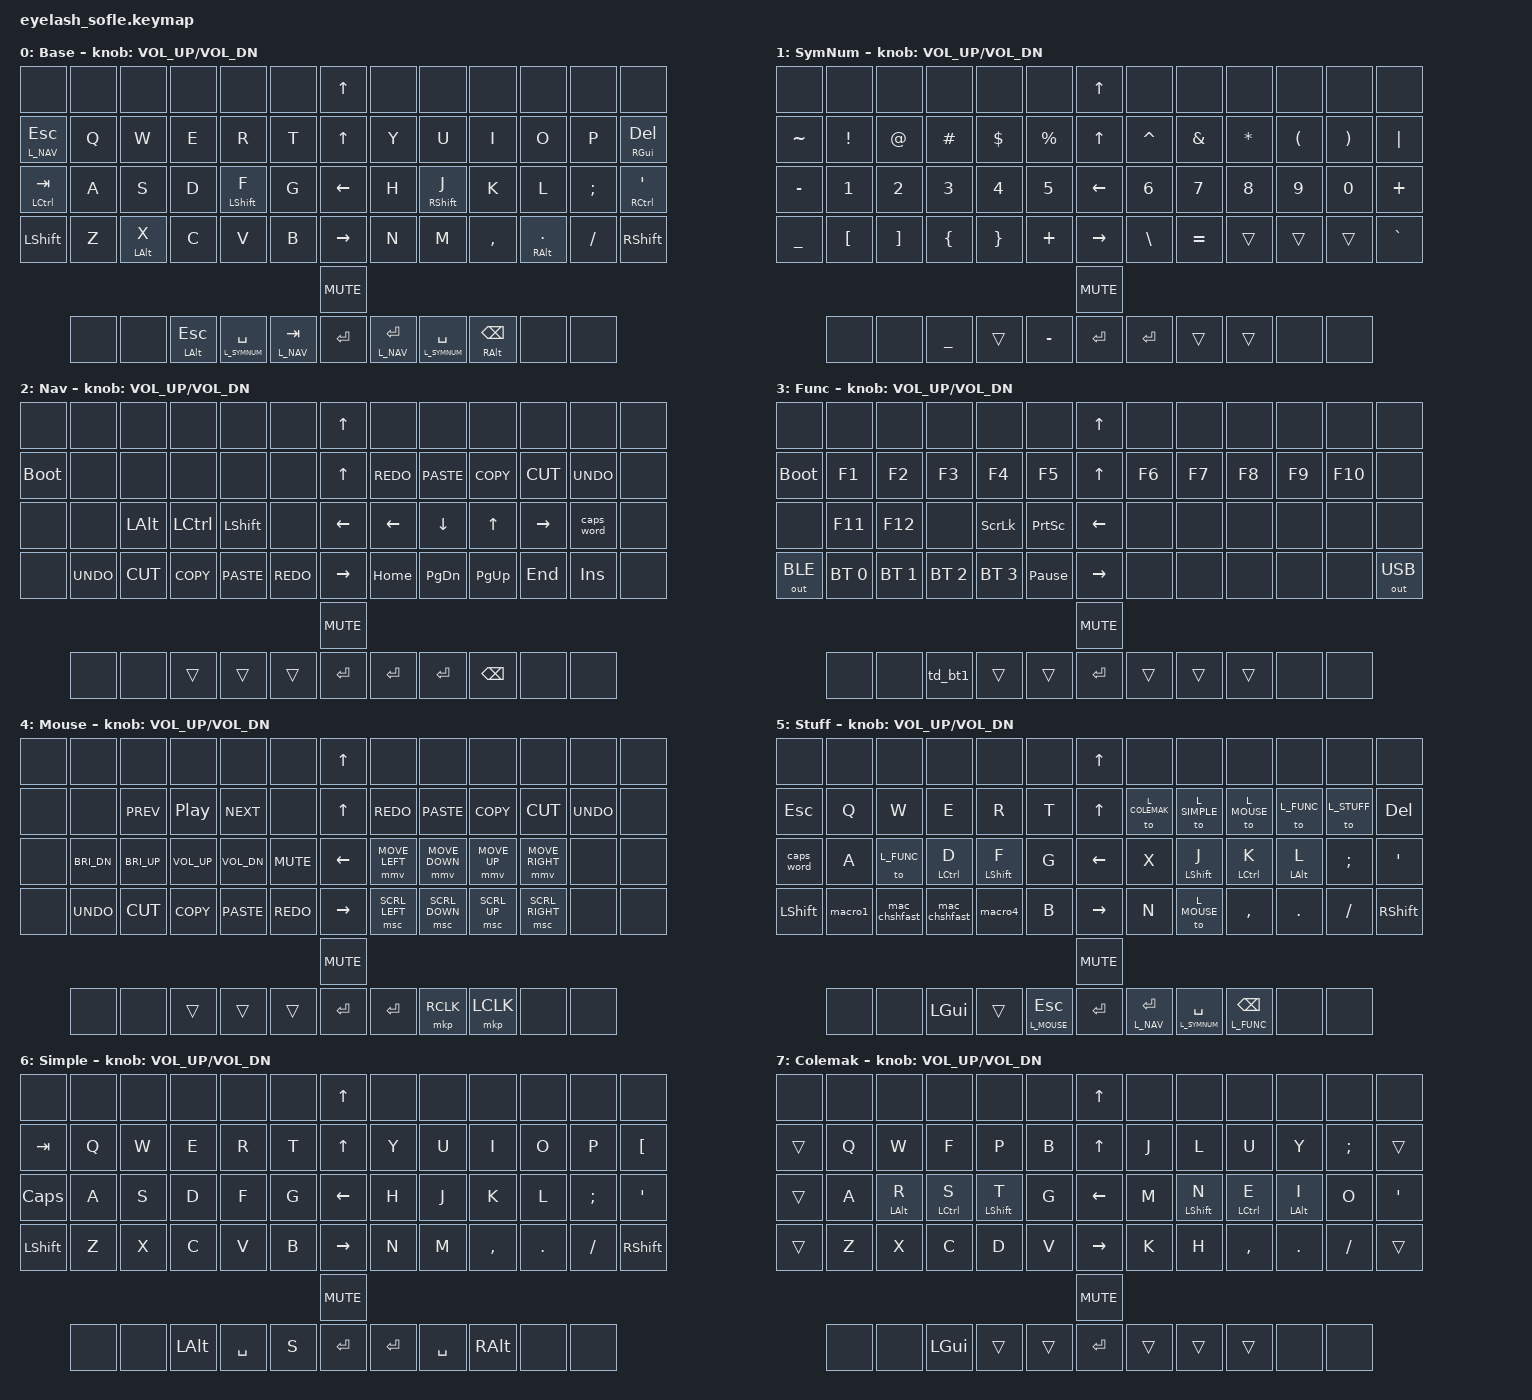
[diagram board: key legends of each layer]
#define ZMK_POINTING_DEFAULT_MOVE_VAL 1200  // 600
#define ZMK_POINTING_DEFAULT_SCRL_VAL 25   // 10

#define L_BASE         0
#define L_SYMNUM       1
#define L_NAV          2
#define L_FUNC         3
#define L_MOUSE        4 
#define L_STUFF        5 
#define L_SIMPLE       6
#define L_COLEMAK      7


// TODO: convert left ctrl and alt to right versions, where appropriate
// TODO maybe move the numbers to bottom row?
// idea: add 'one handed mode' layers. e.g. for arrow keys.

#include <input/processors.dtsi>
#include <zephyr/dt-bindings/input/input-event-codes.h>
#include <behaviors.dtsi>
#include <dt-bindings/zmk/bt.h>
#include <dt-bindings/zmk/keys.h>
#include <dt-bindings/zmk/outputs.h>
#include <dt-bindings/zmk/pointing.h>
#include <dt-bindings/zmk/rgb.h>

&mmv_input_listener { input-processors = <&zip_xy_scaler 2 1>; };
&msc_input_listener { input-processors = <&zip_scroll_scaler 2 1>; };
&msc {
    acceleration-exponent = <1>;      // 0
    time-to-max-speed-ms = <100>;       // 300
    delay-ms = <0>;                   // 0
};
&mmv {
    time-to-max-speed-ms = <500>;
    acceleration-exponent = <1>;
    trigger-period-ms = <16>;
};
&soft_off { hold-time-ms = <2000>; };

/ {
    scroll_encoder: scroll_encoder {
        compatible = "zmk,behavior-sensor-rotate";
        #sensor-binding-cells = <0>;
        bindings = <&msc SCRL_DOWN>, <&msc SCRL_UP>;
        tap-ms = <100>;
    };
    behaviors {
         // test tap dance. prints 1 or 2 or 3
         td1: td1 {
            compatible = "zmk,behavior-tap-dance";
            #binding-cells = <0>;
            tapping-term-ms = <200>;
            bindings = <&kp N1>, <&kp N2>, <&kp N3>;
        };
         // bt selection tap dance. the point is to only trigger if really intentional. 1 press prints a dot or something. only triple click works
         // note: i call it 1 but internally it is zero based
         td_bt1: td_bt1 {
            compatible = "zmk,behavior-tap-dance";
            #binding-cells = <0>;
            tapping-term-ms = <200>;
            bindings = <&kp DOT>, <&kp DOT>, <&bt BT_SEL 0>;
        };
    };




    combos {
        compatible = "zmk,combos";

        softoff {
            bindings = <&soft_off>;
            key-positions = <14 28 40>;
        };


        combo_asdl_to_stuff {
            timeout-ms = <50>;
            key-positions = <27 28 29 36>;
            bindings = <&to L_STUFF>;
        };


        combo_wer_capsword {
            timeout-ms = <50>;
            key-positions = <15 16 17>;
            bindings = <&caps_word>;
        };


        combo_cvb_bootloader {
            timeout-ms = <50>;
            key-positions = <42 43 44>;
            bindings = <&bootloader>;
        };


        combo_yui_to_home {
            timeout-ms = <50>;
            key-positions = <20 21 22>;
            bindings = <&to L_BASE>;
        };


        combo_ert_to_simple {
            timeout-ms = <50>;
            key-positions = <16 17 18>;
            bindings = <&to L_SIMPLE>;
        };


        combo_iop_to_mouse {
            timeout-ms = <50>;
            key-positions = <22 23 24>;
            bindings = <&to L_MOUSE>;
        };


        combo_sticky_alt_a {
            timeout-ms = <50>;
            key-positions = <27 37>;
            bindings = <&sk LALT>;
        };


        combo_sticky_shift_s {
            timeout-ms = <50>;
            key-positions = <28 36>;
            bindings = <&sk LSHIFT>;
        };


        combo_sticky_ctrl_c {
            timeout-ms = <50>;
            key-positions = <42 48>;
            bindings = <&sk LCTRL>;
        };


        combo_sticky_shift {
            timeout-ms = <50>;
            key-positions = <39 51>;
            bindings = <&sk LSHIFT>;
        };


        combo_sticky_sym_y {
            timeout-ms = <50>;
            key-positions = <18 20>;
            bindings = <&sl L_SYMNUM>;
        };


        combo_sticky_func_u {
            timeout-ms = <50>;
            key-positions = <17 21>;
            bindings = <&sl L_FUNC>;
        };

    };



    // but just &kp LC(C) is simpler than macro_copy..
    macros {

        // unicode smiley emoji using IBus on Linux. I might want to add more if it works well. note the trailing space. seems needed as 'accept' on some apps
        // Note that this works in ffox, but not in wezterm. maybe it expects enter, not space
        macro1: macro1 {
            compatible = "zmk,behavior-macro";
            #binding-cells = <0>;
            bindings = <&kp LC(LS(U))>, <&kp N1>, <&kp F>, <&kp N6>, <&kp N0>, <&kp N0>, <&kp SPACE>;
        };

//        macro2: macro2 {
//        compatible = "zmk,behavior-macro";
//        #binding-cells = <0>;
//        bindings = 
//            <&kp H>,
//            <&kp E>,
//            <&kp L>,
//            <&kp L>,
//            <&kp O>,
//            <&kp SPACE>,
//            <&kp T>,
//            <&kp H>,
//            <&kp E>,
//            <&kp R>,
//            <&kp E>,
//            <&kp EXCL>,
//            <&kp SPACE>;
//        };



        //macro3: macro3 {
        //compatible = "zmk,behavior-macro";
        //#binding-cells = <0>;
        //wait-ms = <30>;
        //tap-ms = <30>;
        //   .. cheatsheet_macro_action ..
        //};

        macro4: macro4 {
        compatible = "zmk,behavior-macro";
        #binding-cells = <0>;
            bindings = <&kp V>, <&kp N2>, <&kp N6>, <&kp N0>, <&kp N9>,  <&kp C> ;
        };




        mac_chshfast: mac_chshfast {
            compatible = "zmk,behavior-macro";
            #binding-cells = <0>;
            wait-ms = <10>;
            tap-ms = <10>;
            bindings = <&kp E &kp C &kp H &kp O &kp SPACE &kp APOS &kp RET &kp RET &kp RET &kp RET &kp EQUAL &kp EQUAL &kp EQUAL &kp EQUAL &kp EQUAL &kp EQUAL &kp EQUAL &kp EQUAL &kp EQUAL &kp EQUAL &mac_chshfast_1>;
        };
        mac_chshfast_1: mac_chshfast_1 {
            compatible = "zmk,behavior-macro";
            #binding-cells = <0>;
            wait-ms = <10>;
            tap-ms = <10>;
            bindings = <&kp EQUAL &kp EQUAL &kp EQUAL &kp EQUAL &kp EQUAL &kp RET &kp RET &kp C &kp O &kp M &kp B &kp O &kp S &kp COLON &kp SPACE &kp SPACE &kp W &kp E &kp R &kp GT &mac_chshfast_2>;
        };
        mac_chshfast_2: mac_chshfast_2 {
            compatible = "zmk,behavior-macro";
            #binding-cells = <0>;
            wait-ms = <10>;
            tap-ms = <10>;
            bindings = <&kp C &kp A &kp P &kp S &kp W &kp COMMA &kp SPACE &kp SPACE &kp Y &kp U &kp I &kp GT &kp L &kp UNDER &kp B &kp A &kp S &kp E &kp COMMA &kp SPACE &mac_chshfast_3>;
        };
        mac_chshfast_3: mac_chshfast_3 {
            compatible = "zmk,behavior-macro";
            #binding-cells = <0>;
            wait-ms = <10>;
            tap-ms = <10>;
            bindings = <&kp SPACE &kp I &kp O &kp P &kp GT &kp L &kp UNDER &kp M &kp O &kp U &kp S &kp E &kp COMMA &kp SPACE &kp C &kp V &kp B &kp GT &kp B &kp O &mac_chshfast_4>;
        };
        mac_chshfast_4: mac_chshfast_4 {
            compatible = "zmk,behavior-macro";
            #binding-cells = <0>;
            wait-ms = <10>;
            tap-ms = <10>;
            bindings = <&kp O &kp T &kp COMMA &kp SPACE &kp SPACE &kp SPACE &kp A &kp S &kp D &kp L &kp GT &kp L &kp UNDER &kp S &kp T &kp U &kp F &kp F &kp LPAR &kp M &mac_chshfast_5>;
        };
        mac_chshfast_5: mac_chshfast_5 {
            compatible = "zmk,behavior-macro";
            #binding-cells = <0>;
            wait-ms = <10>;
            tap-ms = <10>;
            bindings = <&kp A &kp C &kp R &kp O &kp COLON &kp SPACE &kp V &kp UNDER &kp E &kp R &kp S &kp I &kp O &kp N &kp COMMA &kp SPACE &kp X &kp FSLH &kp C &kp UNDER &mac_chshfast_6>;
        };
        mac_chshfast_6: mac_chshfast_6 {
            compatible = "zmk,behavior-macro";
            #binding-cells = <0>;
            wait-ms = <10>;
            tap-ms = <10>;
            bindings = <&kp H &kp E &kp A &kp T &kp S &kp H &kp E &kp E &kp T &kp COMMA &kp SPACE &kp Z &kp UNDER &kp S &kp M &kp I &kp L &kp E &kp Y &kp RPAR &mac_chshfast_7>;
        };
        mac_chshfast_7: mac_chshfast_7 {
            compatible = "zmk,behavior-macro";
            #binding-cells = <0>;
            wait-ms = <10>;
            tap-ms = <10>;
            bindings = <&kp RET &kp RET &kp S &kp T &kp I &kp C &kp K &kp Y &kp SPACE &kp C &kp O &kp M &kp B &kp O &kp S &kp COMMA &kp SPACE &kp S &kp Y &kp M &mac_chshfast_8>;
        };
        mac_chshfast_8: mac_chshfast_8 {
            compatible = "zmk,behavior-macro";
            #binding-cells = <0>;
            wait-ms = <10>;
            tap-ms = <10>;
            bindings = <&kp M &kp E &kp T &kp R &kp I &kp C &kp SPACE &kp F &kp I &kp N &kp G &kp E &kp R &kp S &kp COLON &kp SPACE &kp SPACE &kp A &kp L &kp T &mac_chshfast_9>;
        };
        mac_chshfast_9: mac_chshfast_9 {
            compatible = "zmk,behavior-macro";
            #binding-cells = <0>;
            wait-ms = <10>;
            tap-ms = <10>;
            bindings = <&kp MINUS &kp A &kp COMMA &kp SPACE &kp SPACE &kp S &kp H &kp I &kp F &kp T &kp MINUS &kp S &kp COMMA &kp SPACE &kp SPACE &kp C &kp T &kp R &kp L &kp MINUS &mac_chshfast_10>;
        };
        mac_chshfast_10: mac_chshfast_10 {
            compatible = "zmk,behavior-macro";
            #binding-cells = <0>;
            wait-ms = <10>;
            tap-ms = <10>;
            bindings = <&kp C &kp COMMA &kp SPACE &kp SPACE &kp S &kp H &kp I &kp F &kp T &kp MINUS &kp P &kp I &kp N &kp K &kp I &kp E &kp S &kp SPACE &kp COMMA &kp SPACE &mac_chshfast_11>;
        };
        mac_chshfast_11: mac_chshfast_11 {
            compatible = "zmk,behavior-macro";
            #binding-cells = <0>;
            wait-ms = <10>;
            tap-ms = <10>;
            bindings = <&kp SPACE &kp F &kp U &kp N &kp C &kp MINUS &kp U &kp COMMA &kp SPACE &kp SPACE &kp S &kp Y &kp M &kp MINUS &kp Y &kp RET &kp RET &kp P &kp I &kp N &mac_chshfast_12>;
        };
        mac_chshfast_12: mac_chshfast_12 {
            compatible = "zmk,behavior-macro";
            #binding-cells = <0>;
            wait-ms = <10>;
            tap-ms = <10>;
            bindings = <&kp K &kp Y &kp SPACE &kp SPACE &kp SPACE &kp SPACE &kp SPACE &kp SPACE &kp O &kp U &kp T &kp PLUS &kp D &kp O &kp W &kp N &kp EQUAL &kp S &kp H &kp I &mac_chshfast_13>;
        };
        mac_chshfast_13: mac_chshfast_13 {
            compatible = "zmk,behavior-macro";
            #binding-cells = <0>;
            wait-ms = <10>;
            tap-ms = <10>;
            bindings = <&kp F &kp T &kp RET &kp P &kp I &kp N &kp K &kp Y &kp SPACE &kp SPACE &kp SPACE &kp SPACE &kp SPACE &kp SPACE &kp O &kp U &kp T &kp W &kp A &kp R &mac_chshfast_14>;
        };
        mac_chshfast_14: mac_chshfast_14 {
            compatible = "zmk,behavior-macro";
            #binding-cells = <0>;
            wait-ms = <10>;
            tap-ms = <10>;
            bindings = <&kp D &kp S &kp EQUAL &kp S &kp H &kp I &kp F &kp T &kp SPACE &kp LPAR &kp LT &kp T &kp A &kp B &kp GT &kp RPAR &kp RET &kp P &kp I &kp N &mac_chshfast_15>;
        };
        mac_chshfast_15: mac_chshfast_15 {
            compatible = "zmk,behavior-macro";
            #binding-cells = <0>;
            wait-ms = <10>;
            tap-ms = <10>;
            bindings = <&kp K &kp Y &kp SPACE &kp SPACE &kp SPACE &kp SPACE &kp SPACE &kp SPACE &kp D &kp O &kp W &kp N &kp EQUAL &kp C &kp T &kp R &kp L &kp SPACE &kp SPACE &kp SPACE &mac_chshfast_16>;
        };
        mac_chshfast_16: mac_chshfast_16 {
            compatible = "zmk,behavior-macro";
            #binding-cells = <0>;
            wait-ms = <10>;
            tap-ms = <10>;
            bindings = <&kp SPACE &kp SPACE &kp SPACE &kp LPAR &kp Z &kp FSLH &kp RPAR &kp RET &kp R &kp I &kp N &kp G &kp F &kp I &kp N &kp G &kp E &kp R &kp SPACE &kp D &mac_chshfast_17>;
        };
        mac_chshfast_17: mac_chshfast_17 {
            compatible = "zmk,behavior-macro";
            #binding-cells = <0>;
            wait-ms = <10>;
            tap-ms = <10>;
            bindings = <&kp O &kp W &kp N &kp EQUAL &kp A &kp L &kp T &kp SPACE &kp SPACE &kp SPACE &kp SPACE &kp SPACE &kp SPACE &kp SPACE &kp LPAR &kp X &kp DOT &kp RPAR &kp RET &kp P &mac_chshfast_18>;
        };
        mac_chshfast_18: mac_chshfast_18 {
            compatible = "zmk,behavior-macro";
            #binding-cells = <0>;
            wait-ms = <10>;
            tap-ms = <10>;
            bindings = <&kp I &kp N &kp K &kp Y &kp SPACE &kp SPACE &kp SPACE &kp SPACE &kp SPACE &kp SPACE &kp O &kp U &kp T &kp PLUS &kp U &kp P &kp EQUAL &kp R &kp G &kp U &mac_chshfast_19>;
        };
        mac_chshfast_19: mac_chshfast_19 {
            compatible = "zmk,behavior-macro";
            #binding-cells = <0>;
            wait-ms = <10>;
            tap-ms = <10>;
            bindings = <&kp I &kp SPACE &kp SPACE &kp SPACE &kp SPACE &kp LPAR &kp D &kp E &kp L &kp RPAR &kp RET &kp RET &kp B &kp A &kp S &kp E &kp COLON &kp SPACE &kp SPACE &kp SPACE &mac_chshfast_20>;
        };
        mac_chshfast_20: mac_chshfast_20 {
            compatible = "zmk,behavior-macro";
            #binding-cells = <0>;
            wait-ms = <10>;
            tap-ms = <10>;
            bindings = <&kp Q &kp W &kp E &kp R &kp T &kp SPACE &kp Y &kp U &kp I &kp O &kp P &kp RET &kp Y &kp U &kp I &kp GT &kp SPACE &kp SPACE &kp SPACE &kp SPACE &mac_chshfast_21>;
        };
        mac_chshfast_21: mac_chshfast_21 {
            compatible = "zmk,behavior-macro";
            #binding-cells = <0>;
            wait-ms = <10>;
            tap-ms = <10>;
            bindings = <&kp A &kp S &kp D &kp F &kp G &kp SPACE &kp H &kp J &kp K &kp L &kp SEMI &kp LT &kp A &kp P &kp O &kp S &kp GT &kp RET &kp SPACE &kp SPACE &mac_chshfast_22>;
        };
        mac_chshfast_22: mac_chshfast_22 {
            compatible = "zmk,behavior-macro";
            #binding-cells = <0>;
            wait-ms = <10>;
            tap-ms = <10>;
            bindings = <&kp SPACE &kp SPACE &kp SPACE &kp SPACE &kp SPACE &kp SPACE &kp Z &kp X &kp C &kp V &kp B &kp SPACE &kp N &kp M &kp COMMA &kp DOT &kp FSLH &kp RET &kp SPACE &kp SPACE &mac_chshfast_23>;
        };
        mac_chshfast_23: mac_chshfast_23 {
            compatible = "zmk,behavior-macro";
            #binding-cells = <0>;
            wait-ms = <10>;
            tap-ms = <10>;
            bindings = <&kp SPACE &kp SPACE &kp SPACE &kp SPACE &kp SPACE &kp SPACE &kp L &kp A &kp L &kp T &kp FSLH &kp E &kp S &kp C &kp SPACE &kp SPACE &kp L &kp UNDER &kp S &kp Y &mac_chshfast_24>;
        };
        mac_chshfast_24: mac_chshfast_24 {
            compatible = "zmk,behavior-macro";
            #binding-cells = <0>;
            wait-ms = <10>;
            tap-ms = <10>;
            bindings = <&kp M &kp FSLH &kp S &kp P &kp A &kp C &kp E &kp SPACE &kp SPACE &kp L &kp UNDER &kp N &kp A &kp V &kp FSLH &kp T &kp A &kp B &kp SPACE &kp SPACE &mac_chshfast_25>;
        };
        mac_chshfast_25: mac_chshfast_25 {
            compatible = "zmk,behavior-macro";
            #binding-cells = <0>;
            wait-ms = <10>;
            tap-ms = <10>;
            bindings = <&kp SPACE &kp SPACE &kp SPACE &kp SPACE &kp SPACE &kp SPACE &kp SPACE &kp SPACE &kp L &kp UNDER &kp N &kp A &kp V &kp FSLH &kp E &kp N &kp T &kp E &kp R &kp SPACE &mac_chshfast_26>;
        };
        mac_chshfast_26: mac_chshfast_26 {
            compatible = "zmk,behavior-macro";
            #binding-cells = <0>;
            wait-ms = <10>;
            tap-ms = <10>;
            bindings = <&kp SPACE &kp L &kp UNDER &kp S &kp Y &kp M &kp FSLH &kp S &kp P &kp A &kp C &kp E &kp SPACE &kp SPACE &kp R &kp A &kp L &kp T &kp FSLH &kp B &mac_chshfast_27>;
        };
        mac_chshfast_27: mac_chshfast_27 {
            compatible = "zmk,behavior-macro";
            #binding-cells = <0>;
            wait-ms = <10>;
            tap-ms = <10>;
            bindings = <&kp A &kp C &kp K &kp S &kp P &kp A &kp C &kp E &kp RET &kp RET &kp S &kp Y &kp M &kp COLON &kp SPACE &kp SPACE &kp SPACE &kp TILDE &kp EXCL &kp AT &mac_chshfast_28>;
        };
        mac_chshfast_28: mac_chshfast_28 {
            compatible = "zmk,behavior-macro";
            #binding-cells = <0>;
            wait-ms = <10>;
            tap-ms = <10>;
            bindings = <&kp HASH &kp DLLR &kp PRCNT &kp SPACE &kp CARET &kp AMPS &kp ASTRK &kp LPAR &kp RPAR &kp PIPE &kp RET &kp ASTRK &kp GT &kp SPACE &kp SPACE &kp SPACE &kp SPACE &kp SPACE &kp MINUS &kp N1 &mac_chshfast_29>;
        };
        mac_chshfast_29: mac_chshfast_29 {
            compatible = "zmk,behavior-macro";
            #binding-cells = <0>;
            wait-ms = <10>;
            tap-ms = <10>;
            bindings = <&kp N2 &kp N3 &kp N4 &kp N5 &kp SPACE &kp N6 &kp N7 &kp N8 &kp N9 &kp N0 &kp PLUS &kp RET &kp SPACE &kp SPACE &kp SPACE &kp SPACE &kp SPACE &kp SPACE &kp SPACE &kp UNDER &mac_chshfast_30>;
        };
        mac_chshfast_30: mac_chshfast_30 {
            compatible = "zmk,behavior-macro";
            #binding-cells = <0>;
            wait-ms = <10>;
            tap-ms = <10>;
            bindings = <&kp LBKT &kp RBKT &kp LBRC &kp RBRC &kp PLUS &kp SPACE &kp BSLH &kp EQUAL &kp COMMA &kp DOT &kp FSLH &kp BSLH &kp GRAVE &kp RET &kp SPACE &kp SPACE &kp SPACE &kp SPACE &kp SPACE &kp SPACE &mac_chshfast_31>;
        };
        mac_chshfast_31: mac_chshfast_31 {
            compatible = "zmk,behavior-macro";
            #binding-cells = <0>;
            wait-ms = <10>;
            tap-ms = <10>;
            bindings = <&kp SPACE &kp U &kp N &kp D &kp E &kp R &kp S &kp C &kp O &kp R &kp E &kp SPACE &kp SPACE &kp T &kp R &kp A &kp N &kp S &kp SPACE &kp SPACE &mac_chshfast_32>;
        };
        mac_chshfast_32: mac_chshfast_32 {
            compatible = "zmk,behavior-macro";
            #binding-cells = <0>;
            wait-ms = <10>;
            tap-ms = <10>;
            bindings = <&kp M &kp I &kp N &kp U &kp S &kp SPACE &kp SPACE &kp SPACE &kp SPACE &kp SPACE &kp SPACE &kp SPACE &kp SPACE &kp SPACE &kp SPACE &kp SPACE &kp SPACE &kp SPACE &kp SPACE &kp SPACE &mac_chshfast_33>;
        };
        mac_chshfast_33: mac_chshfast_33 {
            compatible = "zmk,behavior-macro";
            #binding-cells = <0>;
            wait-ms = <10>;
            tap-ms = <10>;
            bindings = <&kp SPACE &kp SPACE &kp SPACE &kp SPACE &kp E &kp N &kp T &kp E &kp R &kp SPACE &kp SPACE &kp T &kp R &kp A &kp N &kp S &kp SPACE &kp SPACE &kp T &kp R &mac_chshfast_34>;
        };
        mac_chshfast_34: mac_chshfast_34 {
            compatible = "zmk,behavior-macro";
            #binding-cells = <0>;
            wait-ms = <10>;
            tap-ms = <10>;
            bindings = <&kp A &kp N &kp S &kp RET &kp RET &kp N &kp A &kp V &kp COLON &kp SPACE &kp SPACE &kp SPACE &kp B &kp O &kp O &kp T &kp L &kp SPACE &kp N &kp O &mac_chshfast_35>;
        };
        mac_chshfast_35: mac_chshfast_35 {
            compatible = "zmk,behavior-macro";
            #binding-cells = <0>;
            wait-ms = <10>;
            tap-ms = <10>;
            bindings = <&kp N &kp E &kp SPACE &kp SPACE &kp SPACE &kp N &kp O &kp N &kp E &kp SPACE &kp SPACE &kp N &kp O &kp N &kp E &kp SPACE &kp SPACE &kp SPACE &kp N &kp O &mac_chshfast_36>;
        };
        mac_chshfast_36: mac_chshfast_36 {
            compatible = "zmk,behavior-macro";
            #binding-cells = <0>;
            wait-ms = <10>;
            tap-ms = <10>;
            bindings = <&kp N &kp E &kp SPACE &kp SPACE &kp SPACE &kp SPACE &kp N &kp O &kp N &kp E &kp SPACE &kp SPACE &kp SPACE &kp SPACE &kp SPACE &kp R &kp E &kp D &kp O &kp SPACE &mac_chshfast_37>;
        };
        mac_chshfast_37: mac_chshfast_37 {
            compatible = "zmk,behavior-macro";
            #binding-cells = <0>;
            wait-ms = <10>;
            tap-ms = <10>;
            bindings = <&kp SPACE &kp SPACE &kp P &kp A &kp S &kp T &kp E &kp SPACE &kp SPACE &kp C &kp O &kp P &kp Y &kp SPACE &kp SPACE &kp SPACE &kp C &kp U &kp T &kp SPACE &mac_chshfast_38>;
        };
        mac_chshfast_38: mac_chshfast_38 {
            compatible = "zmk,behavior-macro";
            #binding-cells = <0>;
            wait-ms = <10>;
            tap-ms = <10>;
            bindings = <&kp SPACE &kp SPACE &kp U &kp N &kp D &kp O &kp SPACE &kp SPACE &kp N &kp O &kp N &kp E &kp RET &kp ASTRK &kp GT &kp SPACE &kp SPACE &kp SPACE &kp SPACE &kp SPACE &mac_chshfast_39>;
        };
        mac_chshfast_39: mac_chshfast_39 {
            compatible = "zmk,behavior-macro";
            #binding-cells = <0>;
            wait-ms = <10>;
            tap-ms = <10>;
            bindings = <&kp N &kp O &kp N &kp E &kp SPACE &kp SPACE &kp N &kp O &kp N &kp E &kp SPACE &kp SPACE &kp SPACE &kp L &kp A &kp L &kp T &kp SPACE &kp SPACE &kp L &mac_chshfast_40>;
        };
        mac_chshfast_40: mac_chshfast_40 {
            compatible = "zmk,behavior-macro";
            #binding-cells = <0>;
            wait-ms = <10>;
            tap-ms = <10>;
            bindings = <&kp C &kp T &kp R &kp L &kp SPACE &kp SPACE &kp L &kp S &kp H &kp I &kp F &kp T &kp SPACE &kp SPACE &kp N &kp O &kp N &kp E &kp SPACE &kp SPACE &mac_chshfast_41>;
        };
        mac_chshfast_41: mac_chshfast_41 {
            compatible = "zmk,behavior-macro";
            #binding-cells = <0>;
            wait-ms = <10>;
            tap-ms = <10>;
            bindings = <&kp SPACE &kp SPACE &kp SPACE &kp L &kp E &kp F &kp T &kp SPACE &kp SPACE &kp SPACE &kp D &kp O &kp W &kp N &kp SPACE &kp SPACE &kp SPACE &kp U &kp P &kp SPACE &mac_chshfast_42>;
        };
        mac_chshfast_42: mac_chshfast_42 {
            compatible = "zmk,behavior-macro";
            #binding-cells = <0>;
            wait-ms = <10>;
            tap-ms = <10>;
            bindings = <&kp SPACE &kp SPACE &kp SPACE &kp SPACE &kp R &kp I &kp G &kp H &kp T &kp SPACE &kp C &kp A &kp P &kp S &kp W &kp SPACE &kp N &kp O &kp N &kp E &mac_chshfast_43>;
        };
        mac_chshfast_43: mac_chshfast_43 {
            compatible = "zmk,behavior-macro";
            #binding-cells = <0>;
            wait-ms = <10>;
            tap-ms = <10>;
            bindings = <&kp RET &kp SPACE &kp SPACE &kp SPACE &kp SPACE &kp SPACE &kp SPACE &kp SPACE &kp N &kp O &kp N &kp E &kp SPACE &kp SPACE &kp U &kp N &kp D &kp O &kp SPACE &kp SPACE &mac_chshfast_44>;
        };
        mac_chshfast_44: mac_chshfast_44 {
            compatible = "zmk,behavior-macro";
            #binding-cells = <0>;
            wait-ms = <10>;
            tap-ms = <10>;
            bindings = <&kp SPACE &kp C &kp U &kp T &kp SPACE &kp SPACE &kp SPACE &kp C &kp O &kp P &kp Y &kp SPACE &kp SPACE &kp SPACE &kp P &kp A &kp S &kp T &kp E &kp SPACE &mac_chshfast_45>;
        };
        mac_chshfast_45: mac_chshfast_45 {
            compatible = "zmk,behavior-macro";
            #binding-cells = <0>;
            wait-ms = <10>;
            tap-ms = <10>;
            bindings = <&kp SPACE &kp SPACE &kp R &kp E &kp D &kp O &kp SPACE &kp SPACE &kp SPACE &kp SPACE &kp SPACE &kp H &kp O &kp M &kp E &kp SPACE &kp SPACE &kp SPACE &kp P &kp G &mac_chshfast_46>;
        };
        mac_chshfast_46: mac_chshfast_46 {
            compatible = "zmk,behavior-macro";
            #binding-cells = <0>;
            wait-ms = <10>;
            tap-ms = <10>;
            bindings = <&kp UNDER &kp D &kp N &kp SPACE &kp SPACE &kp P &kp G &kp UNDER &kp U &kp P &kp SPACE &kp SPACE &kp E &kp N &kp D &kp SPACE &kp SPACE &kp SPACE &kp I &kp N &mac_chshfast_47>;
        };
        mac_chshfast_47: mac_chshfast_47 {
            compatible = "zmk,behavior-macro";
            #binding-cells = <0>;
            wait-ms = <10>;
            tap-ms = <10>;
            bindings = <&kp S &kp SPACE &kp SPACE &kp SPACE &kp N &kp O &kp N &kp E &kp RET &kp SPACE &kp SPACE &kp SPACE &kp SPACE &kp SPACE &kp SPACE &kp SPACE &kp T &kp R &kp A &kp N &mac_chshfast_48>;
        };
        mac_chshfast_48: mac_chshfast_48 {
            compatible = "zmk,behavior-macro";
            #binding-cells = <0>;
            wait-ms = <10>;
            tap-ms = <10>;
            bindings = <&kp S &kp SPACE &kp SPACE &kp T &kp R &kp A &kp N &kp S &kp SPACE &kp SPACE &kp T &kp R &kp A &kp N &kp S &kp SPACE &kp SPACE &kp SPACE &kp SPACE &kp SPACE &mac_chshfast_49>;
        };
        mac_chshfast_49: mac_chshfast_49 {
            compatible = "zmk,behavior-macro";
            #binding-cells = <0>;
            wait-ms = <10>;
            tap-ms = <10>;
            bindings = <&kp SPACE &kp SPACE &kp SPACE &kp SPACE &kp SPACE &kp SPACE &kp SPACE &kp SPACE &kp SPACE &kp SPACE &kp SPACE &kp SPACE &kp SPACE &kp SPACE &kp SPACE &kp SPACE &kp SPACE &kp SPACE &kp SPACE &kp E &mac_chshfast_50>;
        };
        mac_chshfast_50: mac_chshfast_50 {
            compatible = "zmk,behavior-macro";
            #binding-cells = <0>;
            wait-ms = <10>;
            tap-ms = <10>;
            bindings = <&kp N &kp T &kp E &kp R &kp SPACE &kp SPACE &kp E &kp N &kp T &kp E &kp R &kp SPACE &kp SPACE &kp B &kp S &kp P &kp C &kp RET &kp LPAR &kp DOT &mac_chshfast_51>;
        };
        mac_chshfast_51: mac_chshfast_51 {
            compatible = "zmk,behavior-macro";
            #binding-cells = <0>;
            wait-ms = <10>;
            tap-ms = <10>;
            bindings = <&kp DOT &kp DOT &kp RPAR &kp RET &kp F &kp U &kp N &kp C &kp COLON &kp SPACE &kp SPACE &kp B &kp O &kp O &kp T &kp L &kp SPACE &kp SPACE &kp F &kp N1 &mac_chshfast_52>;
        };
        mac_chshfast_52: mac_chshfast_52 {
            compatible = "zmk,behavior-macro";
            #binding-cells = <0>;
            wait-ms = <10>;
            tap-ms = <10>;
            bindings = <&kp SPACE &kp SPACE &kp SPACE &kp SPACE &kp SPACE &kp F &kp N2 &kp SPACE &kp SPACE &kp SPACE &kp SPACE &kp SPACE &kp F &kp N3 &kp SPACE &kp SPACE &kp SPACE &kp SPACE &kp SPACE &kp F &mac_chshfast_53>;
        };
        mac_chshfast_53: mac_chshfast_53 {
            compatible = "zmk,behavior-macro";
            #binding-cells = <0>;
            wait-ms = <10>;
            tap-ms = <10>;
            bindings = <&kp N4 &kp SPACE &kp SPACE &kp SPACE &kp SPACE &kp SPACE &kp F &kp N5 &kp SPACE &kp SPACE &kp SPACE &kp SPACE &kp SPACE &kp SPACE &kp F &kp N6 &kp SPACE &kp SPACE &kp SPACE &kp F &mac_chshfast_54>;
        };
        mac_chshfast_54: mac_chshfast_54 {
            compatible = "zmk,behavior-macro";
            #binding-cells = <0>;
            wait-ms = <10>;
            tap-ms = <10>;
            bindings = <&kp N7 &kp SPACE &kp SPACE &kp SPACE &kp F &kp N8 &kp SPACE &kp SPACE &kp SPACE &kp F &kp N9 &kp SPACE &kp SPACE &kp SPACE &kp F &kp N1 &kp N0 &kp SPACE &kp SPACE &kp N &mac_chshfast_55>;
        };
        mac_chshfast_55: mac_chshfast_55 {
            compatible = "zmk,behavior-macro";
            #binding-cells = <0>;
            wait-ms = <10>;
            tap-ms = <10>;
            bindings = <&kp O &kp N &kp E &kp RET &kp ASTRK &kp GT &kp SPACE &kp SPACE &kp SPACE &kp SPACE &kp SPACE &kp N &kp O &kp N &kp E &kp SPACE &kp SPACE &kp SPACE &kp F &kp N1 &mac_chshfast_56>;
        };
        mac_chshfast_56: mac_chshfast_56 {
            compatible = "zmk,behavior-macro";
            #binding-cells = <0>;
            wait-ms = <10>;
            tap-ms = <10>;
            bindings = <&kp N1 &kp SPACE &kp SPACE &kp SPACE &kp SPACE &kp F &kp N1 &kp N2 &kp SPACE &kp SPACE &kp SPACE &kp SPACE &kp N &kp O &kp N &kp E &kp SPACE &kp SPACE &kp SPACE &kp S &mac_chshfast_57>;
        };
        mac_chshfast_57: mac_chshfast_57 {
            compatible = "zmk,behavior-macro";
            #binding-cells = <0>;
            wait-ms = <10>;
            tap-ms = <10>;
            bindings = <&kp L &kp C &kp K &kp SPACE &kp SPACE &kp SPACE &kp P &kp S &kp C &kp R &kp N &kp SPACE &kp SPACE &kp SPACE &kp N &kp O &kp N &kp E &kp SPACE &kp N &mac_chshfast_58>;
        };
        mac_chshfast_58: mac_chshfast_58 {
            compatible = "zmk,behavior-macro";
            #binding-cells = <0>;
            wait-ms = <10>;
            tap-ms = <10>;
            bindings = <&kp O &kp N &kp E &kp SPACE &kp N &kp O &kp N &kp E &kp SPACE &kp N &kp O &kp N &kp E &kp SPACE &kp N &kp O &kp N &kp E &kp SPACE &kp N &mac_chshfast_59>;
        };
        mac_chshfast_59: mac_chshfast_59 {
            compatible = "zmk,behavior-macro";
            #binding-cells = <0>;
            wait-ms = <10>;
            tap-ms = <10>;
            bindings = <&kp O &kp N &kp E &kp RET &kp SPACE &kp SPACE &kp SPACE &kp SPACE &kp SPACE &kp SPACE &kp SPACE &kp O &kp U &kp T &kp B &kp L &kp E &kp SPACE &kp B &kp T &mac_chshfast_60>;
        };
        mac_chshfast_60: mac_chshfast_60 {
            compatible = "zmk,behavior-macro";
            #binding-cells = <0>;
            wait-ms = <10>;
            tap-ms = <10>;
            bindings = <&kp S &kp E &kp L &kp N0 &kp SPACE &kp B &kp T &kp S &kp E &kp L &kp N1 &kp SPACE &kp B &kp T &kp S &kp E &kp L &kp N2 &kp SPACE &kp B &mac_chshfast_61>;
        };
        mac_chshfast_61: mac_chshfast_61 {
            compatible = "zmk,behavior-macro";
            #binding-cells = <0>;
            wait-ms = <10>;
            tap-ms = <10>;
            bindings = <&kp T &kp S &kp E &kp L &kp N3 &kp SPACE &kp P &kp A &kp U &kp S &kp E &kp B &kp SPACE &kp SPACE &kp N &kp O &kp N &kp E &kp SPACE &kp N &mac_chshfast_62>;
        };
        mac_chshfast_62: mac_chshfast_62 {
            compatible = "zmk,behavior-macro";
            #binding-cells = <0>;
            wait-ms = <10>;
            tap-ms = <10>;
            bindings = <&kp O &kp N &kp E &kp SPACE &kp N &kp O &kp N &kp E &kp SPACE &kp N &kp O &kp N &kp E &kp SPACE &kp N &kp O &kp N &kp E &kp SPACE &kp O &mac_chshfast_63>;
        };
        mac_chshfast_63: mac_chshfast_63 {
            compatible = "zmk,behavior-macro";
            #binding-cells = <0>;
            wait-ms = <10>;
            tap-ms = <10>;
            bindings = <&kp U &kp T &kp UNDER &kp U &kp S &kp B &kp RET &kp SPACE &kp SPACE &kp SPACE &kp SPACE &kp SPACE &kp SPACE &kp SPACE &kp T &kp D &kp UNDER &kp B &kp T &kp N1 &mac_chshfast_64>;
        };
        mac_chshfast_64: mac_chshfast_64 {
            compatible = "zmk,behavior-macro";
            #binding-cells = <0>;
            wait-ms = <10>;
            tap-ms = <10>;
            bindings = <&kp SPACE &kp T &kp R &kp A &kp N &kp S &kp SPACE &kp T &kp R &kp A &kp N &kp S &kp SPACE &kp SPACE &kp SPACE &kp SPACE &kp SPACE &kp SPACE &kp SPACE &kp SPACE &mac_chshfast_65>;
        };
        mac_chshfast_65: mac_chshfast_65 {
            compatible = "zmk,behavior-macro";
            #binding-cells = <0>;
            wait-ms = <10>;
            tap-ms = <10>;
            bindings = <&kp SPACE &kp SPACE &kp SPACE &kp SPACE &kp SPACE &kp SPACE &kp SPACE &kp SPACE &kp SPACE &kp SPACE &kp SPACE &kp SPACE &kp SPACE &kp SPACE &kp SPACE &kp SPACE &kp SPACE &kp T &kp R &kp A &mac_chshfast_66>;
        };
        mac_chshfast_66: mac_chshfast_66 {
            compatible = "zmk,behavior-macro";
            #binding-cells = <0>;
            wait-ms = <10>;
            tap-ms = <10>;
            bindings = <&kp N &kp S &kp SPACE &kp T &kp R &kp A &kp N &kp S &kp SPACE &kp T &kp R &kp A &kp N &kp S &kp RET &kp RET &kp M &kp O &kp U &kp S &mac_chshfast_67>;
        };
        mac_chshfast_67: mac_chshfast_67 {
            compatible = "zmk,behavior-macro";
            #binding-cells = <0>;
            wait-ms = <10>;
            tap-ms = <10>;
            bindings = <&kp E &kp COLON &kp SPACE &kp N &kp O &kp N &kp E &kp SPACE &kp N &kp O &kp N &kp E &kp SPACE &kp SPACE &kp SPACE &kp P &kp R &kp E &kp V &kp SPACE &mac_chshfast_68>;
        };
        mac_chshfast_68: mac_chshfast_68 {
            compatible = "zmk,behavior-macro";
            #binding-cells = <0>;
            wait-ms = <10>;
            tap-ms = <10>;
            bindings = <&kp SPACE &kp SPACE &kp P &kp P &kp SPACE &kp SPACE &kp SPACE &kp SPACE &kp SPACE &kp C &kp UNDER &kp N &kp E &kp X &kp T &kp SPACE &kp SPACE &kp N &kp O &kp N &mac_chshfast_69>;
        };
        mac_chshfast_69: mac_chshfast_69 {
            compatible = "zmk,behavior-macro";
            #binding-cells = <0>;
            wait-ms = <10>;
            tap-ms = <10>;
            bindings = <&kp E &kp SPACE &kp SPACE &kp SPACE &kp SPACE &kp SPACE &kp K &kp UNDER &kp R &kp E &kp D &kp O &kp SPACE &kp SPACE &kp SPACE &kp SPACE &kp K &kp UNDER &kp P &kp A &mac_chshfast_70>;
        };
        mac_chshfast_70: mac_chshfast_70 {
            compatible = "zmk,behavior-macro";
            #binding-cells = <0>;
            wait-ms = <10>;
            tap-ms = <10>;
            bindings = <&kp S &kp T &kp E &kp SPACE &kp SPACE &kp K &kp UNDER &kp C &kp O &kp P &kp Y &kp SPACE &kp K &kp UNDER &kp C &kp U &kp T &kp SPACE &kp SPACE &kp SPACE &mac_chshfast_71>;
        };
        mac_chshfast_71: mac_chshfast_71 {
            compatible = "zmk,behavior-macro";
            #binding-cells = <0>;
            wait-ms = <10>;
            tap-ms = <10>;
            bindings = <&kp SPACE &kp SPACE &kp K &kp UNDER &kp U &kp N &kp D &kp O &kp SPACE &kp N &kp O &kp N &kp E &kp RET &kp I &kp O &kp P &kp GT &kp SPACE &kp SPACE &mac_chshfast_72>;
        };
        mac_chshfast_72: mac_chshfast_72 {
            compatible = "zmk,behavior-macro";
            #binding-cells = <0>;
            wait-ms = <10>;
            tap-ms = <10>;
            bindings = <&kp SPACE &kp N &kp O &kp N &kp E &kp SPACE &kp B &kp R &kp I &kp UNDER &kp D &kp N &kp SPACE &kp B &kp R &kp I &kp UNDER &kp U &kp P &kp SPACE &mac_chshfast_73>;
        };
        mac_chshfast_73: mac_chshfast_73 {
            compatible = "zmk,behavior-macro";
            #binding-cells = <0>;
            wait-ms = <10>;
            tap-ms = <10>;
            bindings = <&kp V &kp O &kp L &kp UNDER &kp U &kp P &kp SPACE &kp V &kp O &kp L &kp UNDER &kp D &kp N &kp SPACE &kp SPACE &kp C &kp UNDER &kp M &kp U &kp T &mac_chshfast_74>;
        };
        mac_chshfast_74: mac_chshfast_74 {
            compatible = "zmk,behavior-macro";
            #binding-cells = <0>;
            wait-ms = <10>;
            tap-ms = <10>;
            bindings = <&kp E &kp SPACE &kp SPACE &kp SPACE &kp M &kp V &kp UNDER &kp L &kp E &kp F &kp T &kp SPACE &kp SPACE &kp SPACE &kp M &kp V &kp UNDER &kp D &kp O &kp W &mac_chshfast_75>;
        };
        mac_chshfast_75: mac_chshfast_75 {
            compatible = "zmk,behavior-macro";
            #binding-cells = <0>;
            wait-ms = <10>;
            tap-ms = <10>;
            bindings = <&kp N &kp SPACE &kp SPACE &kp M &kp V &kp UNDER &kp U &kp P &kp SPACE &kp SPACE &kp M &kp V &kp UNDER &kp R &kp I &kp G &kp H &kp T &kp SPACE &kp SPACE &mac_chshfast_76>;
        };
        mac_chshfast_76: mac_chshfast_76 {
            compatible = "zmk,behavior-macro";
            #binding-cells = <0>;
            wait-ms = <10>;
            tap-ms = <10>;
            bindings = <&kp N &kp O &kp N &kp E &kp SPACE &kp SPACE &kp SPACE &kp N &kp O &kp N &kp E &kp RET &kp SPACE &kp SPACE &kp SPACE &kp SPACE &kp SPACE &kp SPACE &kp SPACE &kp N &mac_chshfast_77>;
        };
        mac_chshfast_77: mac_chshfast_77 {
            compatible = "zmk,behavior-macro";
            #binding-cells = <0>;
            wait-ms = <10>;
            tap-ms = <10>;
            bindings = <&kp O &kp N &kp E &kp SPACE &kp K &kp UNDER &kp U &kp N &kp D &kp O &kp SPACE &kp K &kp UNDER &kp C &kp U &kp T &kp SPACE &kp SPACE &kp K &kp UNDER &mac_chshfast_78>;
        };
        mac_chshfast_78: mac_chshfast_78 {
            compatible = "zmk,behavior-macro";
            #binding-cells = <0>;
            wait-ms = <10>;
            tap-ms = <10>;
            bindings = <&kp C &kp O &kp P &kp Y &kp SPACE &kp K &kp UNDER &kp P &kp A &kp S &kp T &kp E &kp SPACE &kp K &kp UNDER &kp R &kp E &kp D &kp O &kp SPACE &mac_chshfast_79>;
        };
        mac_chshfast_79: mac_chshfast_79 {
            compatible = "zmk,behavior-macro";
            #binding-cells = <0>;
            wait-ms = <10>;
            tap-ms = <10>;
            bindings = <&kp SPACE &kp SPACE &kp S &kp C &kp R &kp L &kp L &kp E &kp F &kp T &kp SPACE &kp SPACE &kp S &kp C &kp R &kp L &kp D &kp O &kp W &kp N &mac_chshfast_80>;
        };
        mac_chshfast_80: mac_chshfast_80 {
            compatible = "zmk,behavior-macro";
            #binding-cells = <0>;
            wait-ms = <10>;
            tap-ms = <10>;
            bindings = <&kp SPACE &kp S &kp C &kp R &kp L &kp U &kp P &kp SPACE &kp S &kp C &kp R &kp L &kp R &kp I &kp G &kp H &kp T &kp SPACE &kp N &kp O &mac_chshfast_81>;
        };
        mac_chshfast_81: mac_chshfast_81 {
            compatible = "zmk,behavior-macro";
            #binding-cells = <0>;
            wait-ms = <10>;
            tap-ms = <10>;
            bindings = <&kp N &kp E &kp SPACE &kp SPACE &kp SPACE &kp N &kp O &kp N &kp E &kp RET &kp SPACE &kp SPACE &kp SPACE &kp SPACE &kp SPACE &kp SPACE &kp SPACE &kp T &kp R &kp A &mac_chshfast_82>;
        };
        mac_chshfast_82: mac_chshfast_82 {
            compatible = "zmk,behavior-macro";
            #binding-cells = <0>;
            wait-ms = <10>;
            tap-ms = <10>;
            bindings = <&kp N &kp S &kp SPACE &kp T &kp R &kp A &kp N &kp S &kp SPACE &kp T &kp R &kp A &kp N &kp S &kp SPACE &kp SPACE &kp SPACE &kp SPACE &kp SPACE &kp SPACE &mac_chshfast_83>;
        };
        mac_chshfast_83: mac_chshfast_83 {
            compatible = "zmk,behavior-macro";
            #binding-cells = <0>;
            wait-ms = <10>;
            tap-ms = <10>;
            bindings = <&kp SPACE &kp SPACE &kp SPACE &kp SPACE &kp SPACE &kp SPACE &kp SPACE &kp SPACE &kp SPACE &kp SPACE &kp SPACE &kp SPACE &kp SPACE &kp SPACE &kp SPACE &kp SPACE &kp SPACE &kp SPACE &kp SPACE &kp SPACE &mac_chshfast_84>;
        };
        mac_chshfast_84: mac_chshfast_84 {
            compatible = "zmk,behavior-macro";
            #binding-cells = <0>;
            wait-ms = <10>;
            tap-ms = <10>;
            bindings = <&kp E &kp N &kp T &kp E &kp R &kp SPACE &kp R &kp C &kp L &kp K &kp SPACE &kp L &kp C &kp L &kp K &kp RET &kp RET &kp S &kp T &kp U &mac_chshfast_85>;
        };
        mac_chshfast_85: mac_chshfast_85 {
            compatible = "zmk,behavior-macro";
            #binding-cells = <0>;
            wait-ms = <10>;
            tap-ms = <10>;
            bindings = <&kp F &kp F &kp COLON &kp SPACE &kp E &kp S &kp C &kp SPACE &kp Q &kp SPACE &kp W &kp SPACE &kp E &kp SPACE &kp R &kp SPACE &kp T &kp SPACE &kp SPACE &kp SPACE &mac_chshfast_86>;
        };
        mac_chshfast_86: mac_chshfast_86 {
            compatible = "zmk,behavior-macro";
            #binding-cells = <0>;
            wait-ms = <10>;
            tap-ms = <10>;
            bindings = <&kp SPACE &kp SPACE &kp SPACE &kp SPACE &kp SPACE &kp SPACE &kp SPACE &kp SPACE &kp SPACE &kp SPACE &kp SPACE &kp SPACE &kp SPACE &kp SPACE &kp SPACE &kp SPACE &kp SPACE &kp SPACE &kp SPACE &kp SPACE &mac_chshfast_87>;
        };
        mac_chshfast_87: mac_chshfast_87 {
            compatible = "zmk,behavior-macro";
            #binding-cells = <0>;
            wait-ms = <10>;
            tap-ms = <10>;
            bindings = <&kp SPACE &kp SPACE &kp SPACE &kp SPACE &kp SPACE &kp SPACE &kp SPACE &kp SPACE &kp SPACE &kp SPACE &kp L &kp UNDER &kp C &kp O &kp L &kp E &kp M &kp A &kp K &kp SPACE &mac_chshfast_88>;
        };
        mac_chshfast_88: mac_chshfast_88 {
            compatible = "zmk,behavior-macro";
            #binding-cells = <0>;
            wait-ms = <10>;
            tap-ms = <10>;
            bindings = <&kp SPACE &kp L &kp UNDER &kp S &kp I &kp M &kp P &kp L &kp E &kp SPACE &kp SPACE &kp L &kp UNDER &kp M &kp O &kp U &kp S &kp E &kp SPACE &kp L &mac_chshfast_89>;
        };
        mac_chshfast_89: mac_chshfast_89 {
            compatible = "zmk,behavior-macro";
            #binding-cells = <0>;
            wait-ms = <10>;
            tap-ms = <10>;
            bindings = <&kp UNDER &kp F &kp U &kp N &kp C &kp SPACE &kp L &kp UNDER &kp S &kp T &kp U &kp F &kp F &kp SPACE &kp D &kp E &kp L &kp RET &kp A &kp S &mac_chshfast_90>;
        };
        mac_chshfast_90: mac_chshfast_90 {
            compatible = "zmk,behavior-macro";
            #binding-cells = <0>;
            wait-ms = <10>;
            tap-ms = <10>;
            bindings = <&kp D &kp L &kp GT &kp SPACE &kp SPACE &kp C &kp A &kp P &kp S &kp UNDER &kp W &kp O &kp R &kp D &kp SPACE &kp A &kp SPACE &kp L &kp UNDER &kp F &mac_chshfast_91>;
        };
        mac_chshfast_91: mac_chshfast_91 {
            compatible = "zmk,behavior-macro";
            #binding-cells = <0>;
            wait-ms = <10>;
            tap-ms = <10>;
            bindings = <&kp U &kp N &kp C &kp SPACE &kp L &kp C &kp T &kp R &kp L &kp FSLH &kp D &kp SPACE &kp L &kp S &kp H &kp I &kp F &kp T &kp FSLH &kp F &mac_chshfast_92>;
        };
        mac_chshfast_92: mac_chshfast_92 {
            compatible = "zmk,behavior-macro";
            #binding-cells = <0>;
            wait-ms = <10>;
            tap-ms = <10>;
            bindings = <&kp SPACE &kp G &kp SPACE &kp SPACE &kp SPACE &kp SPACE &kp SPACE &kp SPACE &kp SPACE &kp SPACE &kp SPACE &kp X &kp SPACE &kp L &kp S &kp H &kp I &kp F &kp T &kp FSLH &mac_chshfast_93>;
        };
        mac_chshfast_93: mac_chshfast_93 {
            compatible = "zmk,behavior-macro";
            #binding-cells = <0>;
            wait-ms = <10>;
            tap-ms = <10>;
            bindings = <&kp J &kp SPACE &kp L &kp C &kp T &kp R &kp L &kp FSLH &kp K &kp SPACE &kp L &kp A &kp L &kp T &kp FSLH &kp L &kp SPACE &kp SPACE &kp S &kp E &mac_chshfast_94>;
        };
        mac_chshfast_94: mac_chshfast_94 {
            compatible = "zmk,behavior-macro";
            #binding-cells = <0>;
            wait-ms = <10>;
            tap-ms = <10>;
            bindings = <&kp M &kp I &kp SPACE &kp SPACE &kp SPACE &kp A &kp P &kp O &kp S &kp RET &kp SPACE &kp SPACE &kp SPACE &kp SPACE &kp SPACE &kp SPACE &kp SPACE &kp L &kp S &kp H &mac_chshfast_95>;
        };
        mac_chshfast_95: mac_chshfast_95 {
            compatible = "zmk,behavior-macro";
            #binding-cells = <0>;
            wait-ms = <10>;
            tap-ms = <10>;
            bindings = <&kp I &kp F &kp T &kp SPACE &kp M &kp C &kp S &kp M &kp I &kp L &kp E &kp SPACE &kp C &kp H &kp S &kp H &kp F &kp A &kp S &kp T &mac_chshfast_96>;
        };
        mac_chshfast_96: mac_chshfast_96 {
            compatible = "zmk,behavior-macro";
            #binding-cells = <0>;
            wait-ms = <10>;
            tap-ms = <10>;
            bindings = <&kp SPACE &kp C &kp H &kp S &kp H &kp F &kp A &kp S &kp T &kp SPACE &kp M &kp C &kp V &kp E &kp R &kp S &kp I &kp O &kp N &kp SPACE &mac_chshfast_97>;
        };
        mac_chshfast_97: mac_chshfast_97 {
            compatible = "zmk,behavior-macro";
            #binding-cells = <0>;
            wait-ms = <10>;
            tap-ms = <10>;
            bindings = <&kp B &kp SPACE &kp SPACE &kp N &kp SPACE &kp L &kp UNDER &kp M &kp O &kp U &kp S &kp E &kp SPACE &kp SPACE &kp C &kp O &kp M &kp M &kp A &kp SPACE &mac_chshfast_98>;
        };
        mac_chshfast_98: mac_chshfast_98 {
            compatible = "zmk,behavior-macro";
            #binding-cells = <0>;
            wait-ms = <10>;
            tap-ms = <10>;
            bindings = <&kp SPACE &kp SPACE &kp D &kp O &kp T &kp SPACE &kp SPACE &kp SPACE &kp SPACE &kp SPACE &kp F &kp S &kp L &kp H &kp SPACE &kp SPACE &kp SPACE &kp R &kp S &kp H &mac_chshfast_99>;
        };
        mac_chshfast_99: mac_chshfast_99 {
            compatible = "zmk,behavior-macro";
            #binding-cells = <0>;
            wait-ms = <10>;
            tap-ms = <10>;
            bindings = <&kp I &kp F &kp T &kp RET &kp SPACE &kp SPACE &kp SPACE &kp SPACE &kp SPACE &kp SPACE &kp SPACE &kp L &kp G &kp U &kp I &kp SPACE &kp T &kp R &kp A &kp N &mac_chshfast_100>;
        };
        mac_chshfast_100: mac_chshfast_100 {
            compatible = "zmk,behavior-macro";
            #binding-cells = <0>;
            wait-ms = <10>;
            tap-ms = <10>;
            bindings = <&kp S &kp SPACE &kp L &kp UNDER &kp M &kp O &kp U &kp S &kp E &kp FSLH &kp E &kp S &kp C &kp SPACE &kp SPACE &kp SPACE &kp SPACE &kp SPACE &kp SPACE &kp SPACE &mac_chshfast_101>;
        };
        mac_chshfast_101: mac_chshfast_101 {
            compatible = "zmk,behavior-macro";
            #binding-cells = <0>;
            wait-ms = <10>;
            tap-ms = <10>;
            bindings = <&kp SPACE &kp SPACE &kp SPACE &kp SPACE &kp SPACE &kp SPACE &kp SPACE &kp SPACE &kp SPACE &kp SPACE &kp SPACE &kp SPACE &kp SPACE &kp SPACE &kp SPACE &kp SPACE &kp SPACE &kp L &kp UNDER &kp N &mac_chshfast_102>;
        };
        mac_chshfast_102: mac_chshfast_102 {
            compatible = "zmk,behavior-macro";
            #binding-cells = <0>;
            wait-ms = <10>;
            tap-ms = <10>;
            bindings = <&kp A &kp V &kp FSLH &kp E &kp N &kp T &kp E &kp R &kp SPACE &kp L &kp UNDER &kp S &kp Y &kp M &kp FSLH &kp S &kp P &kp A &kp C &kp E &mac_chshfast_103>;
        };
        mac_chshfast_103: mac_chshfast_103 {
            compatible = "zmk,behavior-macro";
            #binding-cells = <0>;
            wait-ms = <10>;
            tap-ms = <10>;
            bindings = <&kp SPACE &kp L &kp UNDER &kp F &kp U &kp N &kp C &kp FSLH &kp B &kp A &kp C &kp K &kp S &kp P &kp A &kp C &kp E &kp RET &kp RET &kp RET &mac_chshfast_104>;
        };
        mac_chshfast_104: mac_chshfast_104 {
            compatible = "zmk,behavior-macro";
            #binding-cells = <0>;
            wait-ms = <10>;
            tap-ms = <10>;
            bindings = <&kp S &kp I &kp M &kp P &kp L &kp E &kp COLON &kp SPACE &kp A &kp L &kp L &kp SPACE &kp K &kp E &kp Y &kp S &kp SPACE &kp S &kp E &kp N &mac_chshfast_105>;
        };
        mac_chshfast_105: mac_chshfast_105 {
            compatible = "zmk,behavior-macro";
            #binding-cells = <0>;
            wait-ms = <10>;
            tap-ms = <10>;
            bindings = <&kp D &kp SPACE &kp O &kp N &kp L &kp Y &kp SPACE &kp W &kp H &kp A &kp T &kp SPACE &kp I &kp S &kp SPACE &kp T &kp H &kp E &kp I &kp R &mac_chshfast_106>;
        };
        mac_chshfast_106: mac_chshfast_106 {
            compatible = "zmk,behavior-macro";
            #binding-cells = <0>;
            wait-ms = <10>;
            tap-ms = <10>;
            bindings = <&kp SPACE &kp LT &kp N &kp A &kp M &kp E &kp GT &kp SPACE &kp I &kp N &kp SPACE &kp T &kp H &kp E &kp SPACE &kp N4 &kp N0 &kp SPACE &kp K &kp E &mac_chshfast_107>;
        };
        mac_chshfast_107: mac_chshfast_107 {
            compatible = "zmk,behavior-macro";
            #binding-cells = <0>;
            wait-ms = <10>;
            tap-ms = <10>;
            bindings = <&kp Y &kp SPACE &kp LT &kp B &kp A &kp S &kp E &kp L &kp I &kp N &kp E &kp GT &kp SPACE &kp S &kp T &kp A &kp N &kp D &kp A &kp R &mac_chshfast_108>;
        };
        mac_chshfast_108: mac_chshfast_108 {
            compatible = "zmk,behavior-macro";
            #binding-cells = <0>;
            wait-ms = <10>;
            tap-ms = <10>;
            bindings = <&kp D &kp I &kp Z &kp A &kp T &kp I &kp O &kp N &kp RET &kp T &kp H &kp A &kp T &kp SPACE &kp S &kp H &kp O &kp U &kp L &kp D &mac_chshfast_109>;
        };
        mac_chshfast_109: mac_chshfast_109 {
            compatible = "zmk,behavior-macro";
            #binding-cells = <0>;
            wait-ms = <10>;
            tap-ms = <10>;
            bindings = <&kp SPACE &kp B &kp E &kp SPACE &kp A &kp V &kp A &kp I &kp L &kp A &kp B &kp L &kp E &kp SPACE &kp O &kp N &kp SPACE &kp B &kp O &kp T &mac_chshfast_110>;
        };
        mac_chshfast_110: mac_chshfast_110 {
            compatible = "zmk,behavior-macro";
            #binding-cells = <0>;
            wait-ms = <10>;
            tap-ms = <10>;
            bindings = <&kp H &kp SPACE &kp Z &kp M &kp K &kp SPACE &kp A &kp N &kp D &kp SPACE &kp L &kp A &kp P &kp T &kp O &kp P &kp COMMA &kp SPACE &kp E &kp T &mac_chshfast_111>;
        };
        mac_chshfast_111: mac_chshfast_111 {
            compatible = "zmk,behavior-macro";
            #binding-cells = <0>;
            wait-ms = <10>;
            tap-ms = <10>;
            bindings = <&kp C &kp DOT &kp SPACE &kp E &kp DOT &kp G &kp DOT &kp SPACE &kp N3 &kp SPACE &kp R &kp O &kp W &kp S &kp COMMA &kp SPACE &kp S &kp P &kp A &kp C &mac_chshfast_112>;
        };
        mac_chshfast_112: mac_chshfast_112 {
            compatible = "zmk,behavior-macro";
            #binding-cells = <0>;
            wait-ms = <10>;
            tap-ms = <10>;
            bindings = <&kp E &kp COMMA &kp SPACE &kp T &kp W &kp O &kp SPACE &kp T &kp H &kp U &kp M &kp B &kp S &kp COMMA &kp SPACE &kp A &kp N &kp D &kp SPACE &kp E &mac_chshfast_113>;
        };
        mac_chshfast_113: mac_chshfast_113 {
            compatible = "zmk,behavior-macro";
            #binding-cells = <0>;
            wait-ms = <10>;
            tap-ms = <10>;
            bindings = <&kp N &kp T &kp E &kp R &kp RET &kp LPAR &kp P &kp L &kp U &kp S &kp SPACE &kp M &kp A &kp Y &kp B &kp E &kp SPACE &kp E &kp X &kp T &mac_chshfast_114>;
        };
        mac_chshfast_114: mac_chshfast_114 {
            compatible = "zmk,behavior-macro";
            #binding-cells = <0>;
            wait-ms = <10>;
            tap-ms = <10>;
            bindings = <&kp R &kp A &kp SPACE &kp K &kp E &kp Y &kp S &kp SPACE &kp T &kp H &kp A &kp T &kp SPACE &kp M &kp I &kp G &kp H &kp T &kp SPACE &kp B &mac_chshfast_115>;
        };
        mac_chshfast_115: mac_chshfast_115 {
            compatible = "zmk,behavior-macro";
            #binding-cells = <0>;
            wait-ms = <10>;
            tap-ms = <10>;
            bindings = <&kp E &kp SPACE &kp A &kp V &kp A &kp I &kp L &kp A &kp B &kp L &kp E &kp SPACE &kp B &kp U &kp T &kp SPACE &kp A &kp R &kp E &kp SPACE &mac_chshfast_116>;
        };
        mac_chshfast_116: mac_chshfast_116 {
            compatible = "zmk,behavior-macro";
            #binding-cells = <0>;
            wait-ms = <10>;
            tap-ms = <10>;
            bindings = <&kp N &kp O &kp T &kp SPACE &kp R &kp E &kp L &kp E &kp V &kp A &kp N &kp T &kp SPACE &kp F &kp O &kp R &kp SPACE &kp T &kp H &kp E &mac_chshfast_117>;
        };
        mac_chshfast_117: mac_chshfast_117 {
            compatible = "zmk,behavior-macro";
            #binding-cells = <0>;
            wait-ms = <10>;
            tap-ms = <10>;
            bindings = <&kp SPACE &kp S &kp I &kp M &kp P &kp L &kp E &kp SPACE &kp B &kp A &kp S &kp E &kp L &kp I &kp N &kp E &kp RPAR &kp RET &kp RET &kp RET &mac_chshfast_118>;
        };
        mac_chshfast_118: mac_chshfast_118 {
            compatible = "zmk,behavior-macro";
            #binding-cells = <0>;
            wait-ms = <10>;
            tap-ms = <10>;
            bindings = <&kp EQUAL &kp EQUAL &kp EQUAL &kp EQUAL &kp EQUAL &kp EQUAL &kp EQUAL &kp EQUAL &kp EQUAL &kp EQUAL &kp EQUAL &kp EQUAL &kp EQUAL &kp EQUAL &kp EQUAL &kp APOS &kp RET>;
        };



    //    macro_copy: macro_copy {
    //    compatible = "zmk,behavior-macro";
    //    #binding-cells = <0>;
    //    bindings = <&kp LC(C)>;
    //    };
    //    macro_paste: macro_paste {
    //    compatible = "zmk,behavior-macro";
    //    #binding-cells = <0>;
    //    bindings = <&kp LC(V)>;
    //    };
    //    macro_cut: macro_cut {
    //    compatible = "zmk,behavior-macro";
    //    #binding-cells = <0>;
    //    bindings = <&kp LC(X)>;
    //    };
    //    macro_redo: macro_redo {
    //    compatible = "zmk,behavior-macro";
    //    #binding-cells = <0>;
    //    bindings = <&kp LC(Y)>;
    //    };
    //    macro_undo: macro_undo {
    //    compatible = "zmk,behavior-macro";
    //    #binding-cells = <0>;
    //    bindings = <&kp LC(Z)>;
    //    };
    };


    keymap {
        compatible = "zmk,keymap";


// GLOSSARY FOR KEY POSITIONS (todo: fill it in)
//=================================================================================================================================================================================================================
//
// 0       1                  2                3            4                  5                   (6)                         7                  8               9                 10           11             12
// 13      q(14)              w(15)            e(16)        r(17               t(18                (6)                       y(20                 u(0             i(22)            o(23)         p(0)           25
// 26      a                  s                d            f(30)              g(31)               (6)                       h(                  j(34)            k(35             l(36          37             38
// 39      z(40               x(41             c(42         v(43               b(44                (6)                       n(46                m(47             48               49            50             51 
//                                                                                                 (6)
//                                                     53 0           55  56  57                                              58 59 60             0 0
//=================================================================================================================================================================================================================




    // Layer Base
    ///////////////////////////////////
    layer0 {
    bindings = <

       &none  &none &none &none &none &none       &kp UP_ARROW           &none &none &none &none &none &none
            &lt L_NAV ESC &kp Q &kp W &kp E &kp R &kp T  &kp UP_ARROW      &kp Y &kp U &kp I &kp O &kp P &mt RGUI DEL
            &mt LCTRL TAB &kp A &kp S &kp D &mt LSHIFT F &kp G  &kp LEFT_ARROW    &kp H &mt RSHIFT J &kp K &kp L &kp SEMI &mt RCTRL APOS
            &kp LSHIFT &kp Z &mt LALT X &kp C &kp V &kp B  &kp RIGHT_ARROW   &kp N &kp M &kp COMMA &mt RALT DOT &kp FSLH &kp RSHIFT
                                                  &kp C_MUTE
&none &none     &mt LALT ESC &lt L_SYMNUM SPACE &lt L_NAV TAB  &kp ENTER         &lt L_NAV ENTER &lt L_SYMNUM SPACE &mt RALT BACKSPACE      &none &none

            >; display-name = "Base"; sensor-bindings = <&inc_dec_kp C_VOLUME_UP C_VOL_DN>; };



    // Layer SymNum
    ///////////////////////////////////
    layer1 {
    bindings = <

       &none  &none &none &none &none &none       &kp UP_ARROW           &none &none &none &none &none &none
            &kp TILDE &kp EXCL &kp AT &kp HASH &kp DOLLAR &kp PRCNT  &kp UP_ARROW      &kp CARET &kp AMPS &kp STAR &kp LPAR &kp RPAR &kp PIPE
            &kp MINUS &kp N1 &kp N2 &kp N3 &kp N4 &kp N5  &kp LEFT_ARROW    &kp N6 &kp N7 &kp N8 &kp N9 &kp N0 &kp PLUS
            &kp UNDERSCORE &kp LBKT &kp RBKT &kp LBRC &kp RBRC &kp PLUS  &kp RIGHT_ARROW   &kp BSLH &kp EQUAL &trans &trans &trans &kp GRAVE
                                                  &kp C_MUTE
&none &none     &kp UNDERSCORE &trans &kp MINUS  &kp ENTER         &kp ENTER &trans &trans      &none &none

            >; display-name = "SymNum"; sensor-bindings = <&inc_dec_kp C_VOLUME_UP C_VOL_DN>; };



    // Layer Nav
    ///////////////////////////////////
    layer2 {
    bindings = <

       &none  &none &none &none &none &none       &kp UP_ARROW           &none &none &none &none &none &none
            &bootloader &none &none &none &none &none  &kp UP_ARROW      &kp K_REDO &kp K_PASTE &kp K_COPY &kp K_CUT &kp K_UNDO &none
            &none &none &kp LALT &kp LCTRL &kp LSHIFT &none  &kp LEFT_ARROW    &kp LEFT &kp DOWN &kp UP &kp RIGHT &caps_word &none
            &none &kp K_UNDO &kp K_CUT &kp K_COPY &kp K_PASTE &kp K_REDO  &kp RIGHT_ARROW   &kp HOME &kp PG_DN &kp PG_UP &kp END &kp INS &none
                                                  &kp C_MUTE
&none &none     &trans &trans &trans  &kp ENTER         &kp ENTER &kp ENTER &kp BSPC      &none &none

            >; display-name = "Nav"; sensor-bindings = <&inc_dec_kp C_VOLUME_UP C_VOL_DN>; };



    // Layer Func
    ///////////////////////////////////
    layer3 {
    bindings = <

       &none  &none &none &none &none &none       &kp UP_ARROW           &none &none &none &none &none &none
            &bootloader &kp F1 &kp F2 &kp F3 &kp F4 &kp F5  &kp UP_ARROW      &kp F6 &kp F7 &kp F8 &kp F9 &kp F10 &none
            &none &kp F11 &kp F12 &none &kp SLCK &kp PSCRN  &kp LEFT_ARROW    &none &none &none &none &none &none
            &out OUT_BLE &bt BT_SEL 0 &bt BT_SEL 1 &bt BT_SEL 2 &bt BT_SEL 3 &kp PAUSE_BREAK  &kp RIGHT_ARROW   &none &none &none &none &none &out OUT_USB
                                                  &kp C_MUTE
&none &none     &td_bt1 &trans &trans  &kp ENTER         &trans &trans &trans      &none &none

            >; display-name = "Func"; sensor-bindings = <&inc_dec_kp C_VOLUME_UP C_VOL_DN>; };



    // Layer Mouse
    ///////////////////////////////////
    layer4 {
    bindings = <

       &none  &none &none &none &none &none       &kp UP_ARROW           &none &none &none &none &none &none
            &none &none &kp C_PREV &kp C_PP &kp C_NEXT &none  &kp UP_ARROW      &kp K_REDO &kp K_PASTE &kp K_COPY &kp K_CUT &kp K_UNDO &none
            &none &kp C_BRI_DN &kp C_BRI_UP &kp C_VOL_UP &kp C_VOL_DN &kp C_MUTE  &kp LEFT_ARROW    &mmv MOVE_LEFT &mmv MOVE_DOWN &mmv MOVE_UP &mmv MOVE_RIGHT &none &none
            &none &kp K_UNDO &kp K_CUT &kp K_COPY &kp K_PASTE &kp K_REDO  &kp RIGHT_ARROW   &msc SCRL_LEFT &msc SCRL_DOWN &msc SCRL_UP &msc SCRL_RIGHT &none &none
                                                  &kp C_MUTE
&none &none     &trans &trans &trans  &kp ENTER         &kp ENTER &mkp RCLK &mkp LCLK      &none &none

            >; display-name = "Mouse"; sensor-bindings = <&inc_dec_kp C_VOLUME_UP C_VOL_DN>; };



    // Layer Stuff
    ///////////////////////////////////
    layer5 {
    bindings = <

       &none  &none &none &none &none &none       &kp UP_ARROW           &none &none &none &none &none &none
            &kp ESC &kp Q &kp W &kp E &kp R &kp T  &kp UP_ARROW      &to L_COLEMAK &to L_SIMPLE &to L_MOUSE &to L_FUNC &to L_STUFF &kp DEL
            &caps_word &kp A &to L_FUNC &mt LCTRL D &mt LSHIFT F &kp G  &kp LEFT_ARROW    &kp X &mt LSHIFT J &mt LCTRL K &mt LALT L &kp SEMI &kp APOS
            &kp LSHIFT &macro1 &mac_chshfast &mac_chshfast &macro4 &kp B  &kp RIGHT_ARROW   &kp N &to L_MOUSE &kp COMMA &kp DOT &kp FSLH &kp RSHIFT
                                                  &kp C_MUTE
&none &none     &kp LGUI &trans &lt L_MOUSE ESC  &kp ENTER         &lt L_NAV ENTER &lt L_SYMNUM SPACE &lt L_FUNC BACKSPACE      &none &none

            >; display-name = "Stuff"; sensor-bindings = <&inc_dec_kp C_VOLUME_UP C_VOL_DN>; };



    // Layer Simple
    ///////////////////////////////////
    layer6 {
    bindings = <

       &none  &none &none &none &none &none       &kp UP_ARROW           &none &none &none &none &none &none
            &kp TAB &kp Q &kp W &kp E &kp R &kp T  &kp UP_ARROW      &kp Y &kp U &kp I &kp O &kp P &kp LBKT
            &kp CAPS &kp A &kp S &kp D &kp F &kp G  &kp LEFT_ARROW    &kp H &kp J &kp K &kp L &kp SEMI &kp APOS
            &kp LSHIFT &kp Z &kp X &kp C &kp V &kp B  &kp RIGHT_ARROW   &kp N &kp M &kp COMMA &kp DOT &kp FSLH &kp RSHIFT
                                                  &kp C_MUTE
&none &none     &kp LALT &kp SPACE &kp S  &kp ENTER         &kp ENTER &kp SPACE &kp RALT      &none &none

            >; display-name = "Simple"; sensor-bindings = <&inc_dec_kp C_VOLUME_UP C_VOL_DN>; };



    // Layer Colemak
    ///////////////////////////////////
    layer7 {
    bindings = <

       &none  &none &none &none &none &none       &kp UP_ARROW           &none &none &none &none &none &none
            &trans &kp Q &kp W &kp F &kp P &kp B  &kp UP_ARROW      &kp J &kp L &kp U &kp Y &kp SEMI &trans
            &trans &kp A &mt LALT R &mt LCTRL S &mt LSHIFT T &kp G  &kp LEFT_ARROW    &kp M &mt LSHIFT N &mt LCTRL E &mt LALT I &kp O &kp APOS
            &trans &kp Z &kp X &kp C &kp D &kp V  &kp RIGHT_ARROW   &kp K &kp H &kp COMMA &kp DOT &kp FSLH &trans
                                                  &kp C_MUTE
&none &none     &kp LGUI &trans &trans  &kp ENTER         &trans &trans &trans      &none &none

            >; display-name = "Colemak"; sensor-bindings = <&inc_dec_kp C_VOLUME_UP C_VOL_DN>; };



    };
};
